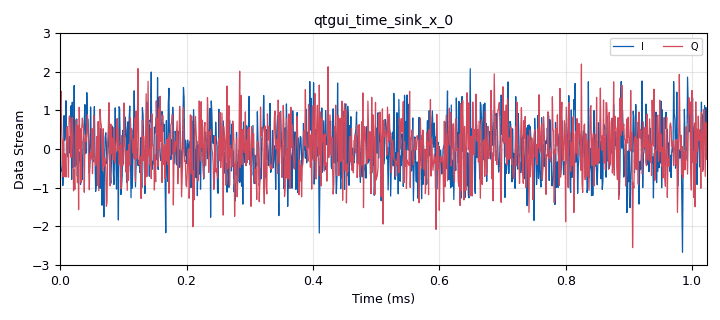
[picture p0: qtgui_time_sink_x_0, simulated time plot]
<?xml version='1.0' encoding='utf-8'?>
<?grc format='1' created='3.7.12'?>
<flow_graph>
<block>
<key>options</key>
<param><key>id</key><value>eventwrite</value></param>
<param><key>author</key><value>Glen Langston</value></param>
<param><key>description</key><value>This demo tests the event detection and writing blocks</value></param>
<param><key>generate_options</key><value>qt_gui</value></param>
<param><key>title</key><value>Event Detection  and Write Demo</value></param>
</block>
<block>
<key>variable_qtgui_chooser</key>
<param><key>id</key><value>EventMode</value></param>
<param><key>value</key><value>0</value></param>
<param><key>gui_hint</key><value>0,2,1,1</value></param>
<param><key>label0</key><value>Wait</value></param>
<param><key>label1</key><value>Write</value></param>
<param><key>label</key><value>Event Mode</value></param>
<param><key>num_opts</key><value>2</value></param>
<param><key>option0</key><value>0</value></param>
<param><key>option1</key><value>1</value></param>
<param><key>type</key><value>int</value></param>
</block>
<block>
<key>variable</key>
<param><key>id</key><value>fftsize</value></param>
<param><key>value</key><value>1024</value></param>
</block>
<block>
<key>variable_qtgui_chooser</key>
<param><key>id</key><value>mode</value></param>
<param><key>value</key><value>2</value></param>
<param><key>gui_hint</key><value>0,0,1,1</value></param>
<param><key>label0</key><value>Monitor</value></param>
<param><key>label1</key><value>Detect</value></param>
<param><key>label</key><value>Event Mode</value></param>
<param><key>num_opts</key><value>2</value></param>
<param><key>option0</key><value>1</value></param>
<param><key>option1</key><value>2</value></param>
<param><key>type</key><value>int</value></param>
</block>
<block>
<key>variable_qtgui_range</key>
<param><key>id</key><value>nsigma</value></param>
<param><key>value</key><value>3.6</value></param>
<param><key>gui_hint</key><value>0,1,1,1</value></param>
<param><key>label</key><value>N Sigma</value></param>
<param><key>min_len</key><value>100</value></param>
<param><key>orient</key><value>Qt.Horizontal</value></param>
<param><key>start</key><value>0.</value></param>
<param><key>step</key><value>.1</value></param>
<param><key>stop</key><value>10.</value></param>
<param><key>widget</key><value>counter</value></param>
</block>
<block>
<key>variable</key>
<param><key>id</key><value>samp_rate</value></param>
<param><key>value</key><value>1e6</value></param>
</block>
<block>
<key>analog_noise_source_x</key>
<param><key>id</key><value>analog_noise_source_x_0</value></param>
<param><key>amp</key><value>1</value></param>
<param><key>noise_type</key><value>analog.GR_GAUSSIAN</value></param>
<param><key>type</key><value>complex</value></param>
<param><key>seed</key><value>0</value></param>
</block>
<block>
<key>analog_sig_source_x</key>
<param><key>id</key><value>analog_sig_source_x_0</value></param>
<param><key>amp</key><value>.1</value></param>
<param><key>freq</key><value>3e5</value></param>
<param><key>offset</key><value>0</value></param>
<param><key>type</key><value>complex</value></param>
<param><key>samp_rate</key><value>samp_rate</value></param>
<param><key>waveform</key><value>analog.GR_COS_WAVE</value></param>
</block>
<block>
<key>analog_sig_source_x</key>
<param><key>id</key><value>analog_sig_source_x_0_0</value></param>
<param><key>amp</key><value>.05</value></param>
<param><key>freq</key><value>2e5</value></param>
<param><key>offset</key><value>0</value></param>
<param><key>type</key><value>complex</value></param>
<param><key>samp_rate</key><value>samp_rate</value></param>
<param><key>waveform</key><value>analog.GR_COS_WAVE</value></param>
</block>
<block>
<key>blocks_add_xx</key>
<param><key>id</key><value>blocks_add_xx_0</value></param>
<param><key>type</key><value>complex</value></param>
<param><key>num_inputs</key><value>3</value></param>
</block>
<block>
<key>blocks_complex_to_float</key>
<param><key>id</key><value>blocks_complex_to_float_0</value></param>
</block>
<block>
<key>blocks_complex_to_mag_squared</key>
<param><key>id</key><value>blocks_complex_to_mag_squared_0</value></param>
</block>
<block>
<key>blocks_delay</key>
<param><key>id</key><value>blocks_delay_0</value></param>
<param><key>delay</key><value>2*fftsize</value></param>
<param><key>type</key><value>complex</value></param>
</block>
<block>
<key>blocks_delay</key>
<param><key>id</key><value>blocks_delay_1</value></param>
<param><key>delay</key><value>1</value></param>
<param><key>type</key><value>complex</value></param>
</block>
<block>
<key>blocks_throttle</key>
<param><key>id</key><value>blocks_throttle_0</value></param>
<param><key>samples_per_second</key><value>samp_rate</value></param>
<param><key>type</key><value>complex</value></param>
</block>
<block>
<key>blocks_vector_to_stream</key>
<param><key>id</key><value>blocks_vector_to_stream_0</value></param>
<param><key>type</key><value>complex</value></param>
<param><key>num_items</key><value>fftsize</value></param>
</block>
<block>
<key>qtgui_number_sink</key>
<param><key>id</key><value>qtgui_number_sink_0</value></param>
<param><key>graph_type</key><value>qtgui.NUM_GRAPH_NONE</value></param>
<param><key>type</key><value>float</value></param>
<param><key>label1</key><value>Magnitude</value></param>
<param><key>label2</key><value>RMS</value></param>
<param><key>nconnections</key><value>2</value></param>
<param><key>update_time</key><value>1</value></param>
</block>
<block>
<key>qtgui_number_sink</key>
<param><key>id</key><value>qtgui_number_sink_0_0_0</value></param>
<param><key>gui_hint</key><value>13,3,1,1</value></param>
<param><key>graph_type</key><value>qtgui.NUM_GRAPH_NONE</value></param>
<param><key>type</key><value>float</value></param>
<param><key>label1</key><value>Event Days (Accurate to 10ths)</value></param>
<param><key>label2</key><value>Event Time</value></param>
<param><key>nconnections</key><value>2</value></param>
<param><key>update_time</key><value>1</value></param>
</block>
<block>
<key>qtgui_number_sink</key>
<param><key>id</key><value>qtgui_number_sink_0_1</value></param>
<param><key>graph_type</key><value>qtgui.NUM_GRAPH_NONE</value></param>
<param><key>type</key><value>float</value></param>
<param><key>label1</key><value>Event Count</value></param>
<param><key>update_time</key><value>1</value></param>
</block>
<block>
<key>qtgui_time_sink_x</key>
<param><key>id</key><value>qtgui_time_sink_x_0</value></param>
<param><key>entags</key><value>False</value></param>
<param><key>gui_hint</key><value>8,0,5,5</value></param>
<param><key>color1</key><value>"blue"</value></param>
<param><key>label1</key><value>I</value></param>
<param><key>color2</key><value>"red"</value></param>
<param><key>label2</key><value>Q</value></param>
<param><key>size</key><value>fftsize</value></param>
<param><key>srate</key><value>samp_rate</value></param>
<param><key>type</key><value>complex</value></param>
<param><key>ylabel</key><value>Data Stream</value></param>
<param><key>ymax</key><value>3</value></param>
<param><key>ymin</key><value>-3</value></param>
</block>
<block>
<key>qtgui_time_sink_x</key>
<param><key>id</key><value>qtgui_time_sink_x_0_0</value></param>
<param><key>gui_hint</key><value>2,0,5,5</value></param>
<param><key>color1</key><value>"blue"</value></param>
<param><key>label1</key><value>I</value></param>
<param><key>color2</key><value>"red"</value></param>
<param><key>label2</key><value>Q</value></param>
<param><key>size</key><value>fftsize</value></param>
<param><key>srate</key><value>samp_rate</value></param>
<param><key>type</key><value>complex</value></param>
<param><key>ylabel</key><value>Event</value></param>
<param><key>ymax</key><value>3</value></param>
<param><key>ymin</key><value>-3</value></param>
</block>
<block>
<key>ra_event_log</key>
<param><key>id</key><value>ra_event_log_0</value></param>
<param><key>logname</key><value></value></param>
<param><key>note</key><value>Event Detection</value></param>
<param><key>sample_rate</key><value>samp_rate</value></param>
<param><key>vlen</key><value>fftsize</value></param>
</block>
<block>
<key>ra_event_sink</key>
<param><key>id</key><value>ra_event_sink_0</value></param>
<param><key>record</key><value>EventMode</value></param>
<param><key>sample_rate</key><value>samp_rate</value></param>
<param><key>setup</key><value>Watch.not</value></param>
<param><key>vlen</key><value>fftsize</value></param>
</block>
<block>
<key>ra_vevent</key>
<param><key>id</key><value>ra_vevent_0</value></param>
<param><key>mode</key><value>mode</value></param>
<param><key>nsigma</key><value>nsigma</value></param>
<param><key>sample_delay</key><value>3./samp_rate</value></param>
<param><key>sample_rate</key><value>samp_rate</value></param>
<param><key>vlen</key><value>fftsize</value></param>
</block>
<connection><source_block_id>analog_noise_source_x_0</source_block_id><sink_block_id>blocks_add_xx_0</sink_block_id><source_key>0</source_key><sink_key>2</sink_key></connection>
<connection><source_block_id>analog_sig_source_x_0</source_block_id><sink_block_id>blocks_add_xx_0</sink_block_id><source_key>0</source_key><sink_key>0</sink_key></connection>
<connection><source_block_id>analog_sig_source_x_0_0</source_block_id><sink_block_id>blocks_add_xx_0</sink_block_id><source_key>0</source_key><sink_key>1</sink_key></connection>
<connection><source_block_id>blocks_add_xx_0</source_block_id><sink_block_id>blocks_throttle_0</sink_block_id><source_key>0</source_key><sink_key>0</sink_key></connection>
<connection><source_block_id>blocks_complex_to_float_0</source_block_id><sink_block_id>qtgui_number_sink_0_0_0</sink_block_id><source_key>1</source_key><sink_key>1</sink_key></connection>
<connection><source_block_id>blocks_complex_to_float_0</source_block_id><sink_block_id>qtgui_number_sink_0_0_0</sink_block_id><source_key>0</source_key><sink_key>0</sink_key></connection>
<connection><source_block_id>blocks_complex_to_mag_squared_0</source_block_id><sink_block_id>ra_vevent_0</sink_block_id><source_key>0</source_key><sink_key>1</sink_key></connection>
<connection><source_block_id>blocks_delay_0</source_block_id><sink_block_id>qtgui_time_sink_x_0</sink_block_id><source_key>0</source_key><sink_key>0</sink_key></connection>
<connection><source_block_id>blocks_delay_1</source_block_id><sink_block_id>ra_vevent_0</sink_block_id><source_key>0</source_key><sink_key>0</sink_key></connection>
<connection><source_block_id>blocks_throttle_0</source_block_id><sink_block_id>blocks_complex_to_mag_squared_0</sink_block_id><source_key>0</source_key><sink_key>0</sink_key></connection>
<connection><source_block_id>blocks_throttle_0</source_block_id><sink_block_id>blocks_delay_0</sink_block_id><source_key>0</source_key><sink_key>0</sink_key></connection>
<connection><source_block_id>blocks_throttle_0</source_block_id><sink_block_id>blocks_delay_1</sink_block_id><source_key>0</source_key><sink_key>0</sink_key></connection>
<connection><source_block_id>blocks_vector_to_stream_0</source_block_id><sink_block_id>qtgui_time_sink_x_0_0</sink_block_id><source_key>0</source_key><sink_key>0</sink_key></connection>
<connection><source_block_id>ra_event_sink_0</source_block_id><sink_block_id>qtgui_number_sink_0_1</sink_block_id><source_key>0</source_key><sink_key>0</sink_key></connection>
<connection><source_block_id>ra_vevent_0</source_block_id><sink_block_id>blocks_complex_to_float_0</sink_block_id><source_key>3</source_key><sink_key>0</sink_key></connection>
<connection><source_block_id>ra_vevent_0</source_block_id><sink_block_id>ra_event_log_0</sink_block_id><source_key>3</source_key><sink_key>2</sink_key></connection>
<connection><source_block_id>ra_vevent_0</source_block_id><sink_block_id>ra_event_sink_0</sink_block_id><source_key>3</source_key><sink_key>3</sink_key></connection>
<connection><source_block_id>ra_vevent_0</source_block_id><sink_block_id>qtgui_number_sink_0</sink_block_id><source_key>1</source_key><sink_key>0</sink_key></connection>
<connection><source_block_id>ra_vevent_0</source_block_id><sink_block_id>ra_event_log_0</sink_block_id><source_key>1</source_key><sink_key>0</sink_key></connection>
<connection><source_block_id>ra_vevent_0</source_block_id><sink_block_id>ra_event_sink_0</sink_block_id><source_key>1</source_key><sink_key>1</sink_key></connection>
<connection><source_block_id>ra_vevent_0</source_block_id><sink_block_id>blocks_vector_to_stream_0</sink_block_id><source_key>0</source_key><sink_key>0</sink_key></connection>
<connection><source_block_id>ra_vevent_0</source_block_id><sink_block_id>ra_event_sink_0</sink_block_id><source_key>0</source_key><sink_key>0</sink_key></connection>
<connection><source_block_id>ra_vevent_0</source_block_id><sink_block_id>qtgui_number_sink_0</sink_block_id><source_key>2</source_key><sink_key>1</sink_key></connection>
<connection><source_block_id>ra_vevent_0</source_block_id><sink_block_id>ra_event_log_0</sink_block_id><source_key>2</source_key><sink_key>1</sink_key></connection>
<connection><source_block_id>ra_vevent_0</source_block_id><sink_block_id>ra_event_sink_0</sink_block_id><source_key>2</source_key><sink_key>2</sink_key></connection>
</flow_graph>
